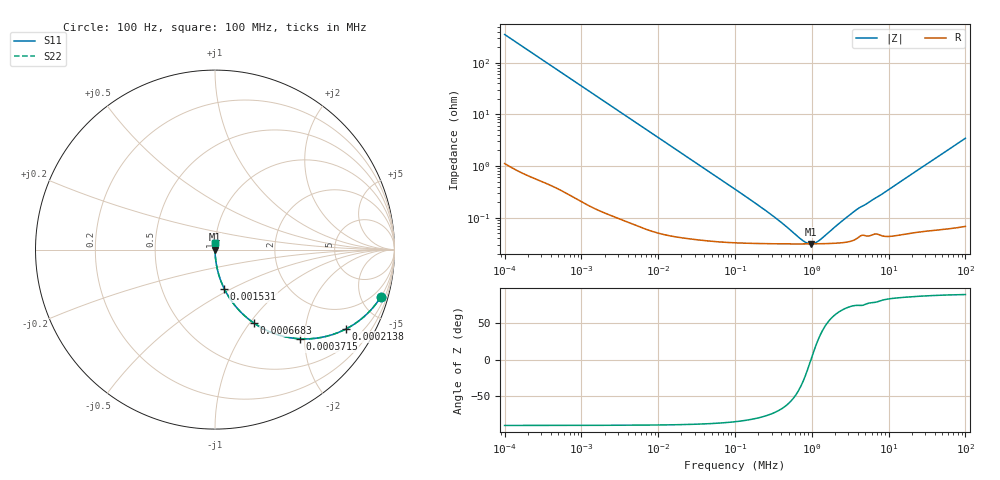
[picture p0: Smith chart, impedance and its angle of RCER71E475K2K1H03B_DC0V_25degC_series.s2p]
!Murata Part Number: RCER71E475K2K1H03B
!These Parameters are Measured in Series Mode Connection
!  o--ll--o
!Port1  Port2
!  o------o
!Operation Temp=25[degC], DC Bias Voltage=0[V]
!Freq. Start=100[Hz] Stop=100[MHz], 401[Steps]
!Data Generated on Feb 18, 2020
# Hz S RI R 50
!Freq.(Hz) S11(Real) S11(Imag) S21(Real) S21(Imag) S12(Real) S12(Imag) S22(Real) S22(Imag)
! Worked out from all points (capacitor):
!   401 points, 100 Hz to 100 MHz, reference 50 ohm
!   read as one part in series: C = 4.53 uF near 107.2 Hz
!   lowest |Z| = 31.2 mohm at 977.2 kHz (marker M1)
!   series resonance near 975.6 kHz, so ESL is about 5.9 nH
!   S11 on the Smith chart (normalised r, x): 100 Hz: 1.02, -7.02; 213.8 Hz: 1.01, -3.29; 371.5 Hz: 1.01, -1.89; 668.3 Hz: 1.01, -1.05; 1.531 kHz: 1.00, -0.46; 100 MHz: 1.00, +0.07
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100  0.9242 -0.2632  0.0758 0.2632  0.0758 0.2632  0.9242 -0.2632
146.2177  0.8514 -0.354  0.1486 0.354  0.1486 0.354  0.8514 -0.354
213.7962  0.729 -0.4426  0.271 0.4426  0.271 0.4426  0.729 -0.4426
281.8383  0.6083 -0.486  0.3917 0.486  0.3917 0.486  0.6083 -0.486
371.5352  0.4729 -0.4969  0.5271 0.4969  0.5271 0.4969  0.4729 -0.4969
489.7788  0.3415 -0.4717  0.6585 0.4717  0.6585 0.4717  0.3415 -0.4717
668.3439  0.2189 -0.4108  0.7811 0.4108  0.7811 0.4108  0.2189 -0.4108
1011.579  0.11 -0.31  0.89 0.31  0.89 0.31  0.11 -0.31
1531.087  0.0518 -0.2185  0.9482 0.2185  0.9482 0.2185  0.0518 -0.2185
3507.519  0.011 -0.0999  0.989 0.0999  0.989 0.0999  0.011 -0.0999
10232.93  0.0017 -0.0347  0.9983 0.0347  0.9983 0.0347  0.0017 -0.0347
100000  0.000339 -0.00355  0.9997 0.00355  0.9997 0.00355  0.000339 -0.00355
312607.9  0.000314 -0.00103  0.9997 0.00103  0.9997 0.00103  0.000314 -0.00103
767361.5  0.000311 -0.000179  0.9997 0.000179  0.9997 0.000179  0.000311 -0.000179
881048.9  0.000311 -7.55e-05  0.9997 7.55e-05  0.9997 7.55e-05  0.000311 -7.55e-05
977237.2  0.000312 1.27e-06  0.9997 -1.27e-06  0.9997 -1.27e-06  0.000312 1.27e-06
1011579  0.000312 2.68e-05  0.9997 -2.68e-05  0.9997 -2.68e-05  0.000312 2.68e-05
1288250  0.000313 0.000209  0.9997 -0.000209  0.9997 -0.000209  0.000313 0.000209
2317395  0.000325 0.000727  0.9997 -0.000727  0.9997 -0.000727  0.000325 0.000727
3890451  0.000401 0.0014  0.9996 -0.0014  0.9996 -0.0014  0.000401 0.0014
1.023293e7  0.000447 0.00356  0.9996 -0.00356  0.9996 -0.00356  0.000447 0.00356
1e8  0.00186 0.0344  0.9981 -0.0344  0.9981 -0.0344  0.00186 0.0344
